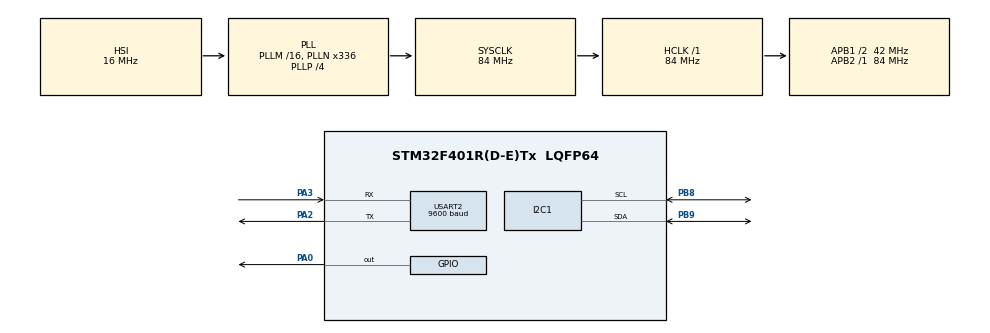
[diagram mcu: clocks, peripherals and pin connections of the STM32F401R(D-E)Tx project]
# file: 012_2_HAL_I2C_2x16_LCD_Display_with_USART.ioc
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Mcu.Family=STM32F4
Mcu.Name=STM32F401R(D-E)Tx
Mcu.Package=LQFP64
NVIC.PriorityGroup=NVIC_PRIORITYGROUP_0
PA0-WKUP.GPIO_Speed=GPIO_SPEED_FREQ_VERY_HIGH
PA0-WKUP.Signal=GPIO_Output
PA2.Mode=Asynchronous
PA2.Signal=USART2_TX
PA3.Mode=Asynchronous
PA3.Signal=USART2_RX
PB8.Mode=I2C
PB8.Signal=I2C1_SCL
PB9.Mode=I2C
PB9.Signal=I2C1_SDA
ProjectManager.HeapSize=0x200
ProjectManager.StackSize=0x400
ProjectManager.TargetToolchain=STM32CubeIDE
RCC.48MHZClocksFreq_Value=48000000
RCC.AHBFreq_Value=84000000
RCC.APB1CLKDivider=RCC_HCLK_DIV2
RCC.APB1Freq_Value=42000000
RCC.APB1TimFreq_Value=84000000
RCC.APB2Freq_Value=84000000
RCC.APB2TimFreq_Value=84000000
RCC.CortexFreq_Value=84000000
RCC.HCLKFreq_Value=84000000
RCC.HSE_VALUE=8000000
RCC.HSI_VALUE=16000000
RCC.LSE_VALUE=32768
RCC.PLLN=336
RCC.PLLP=RCC_PLLP_DIV4
RCC.PLLQ=7
RCC.SYSCLKFreq_VALUE=84000000
RCC.SYSCLKSource=RCC_SYSCLKSOURCE_PLLCLK
RCC.VCOOutputFreq_Value=336000000
USART2.BaudRate=9600
USART2.VirtualMode=VM_ASYNC
board=NUCLEO-F401RE

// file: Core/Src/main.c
/* USER CODE BEGIN Header */
/**
  ******************************************************************************
  * @file           : main.c
  * @brief          : Main program body
  ******************************************************************************
  * @attention
  *
  * Copyright (c) 2023 STMicroelectronics.
  * All rights reserved.
  *
  * This software is licensed under terms that can be found in the LICENSE file
  * in the root directory of this software component.
  * If no LICENSE file comes with this software, it is provided AS-IS.
  *
  ******************************************************************************
  */
/* USER CODE END Header */
#include "main.h"

/* USER CODE BEGIN Includes */
#include "stdio.h"
#include "i2c-lcd.h"
/* USER CODE END Includes */

I2C_HandleTypeDef hi2c1;

UART_HandleTypeDef huart2;

/* USER CODE BEGIN PV */
uint8_t address=0;
int myHex = 0x80;
int buffersize=0;
char rx_buffer[50];
char tx_buffer[50];
/* USER CODE END PV */

void SystemClock_Config(void);
static void MX_GPIO_Init(void);
static void MX_I2C1_Init(void);
static void MX_USART2_UART_Init(void);

/* USER CODE BEGIN 0 */
void findSlaveDeviceAddress()
{
   for(address=0;address<=255;address++)
   {
	   if(HAL_I2C_IsDeviceReady(&hi2c1,address,1,100) == HAL_OK)
	   {
		   HAL_GPIO_TogglePin(GPIOA, GPIO_PIN_0);
		   break;

	   }
   }

}

/* USER CODE END 0 */

int main(void)
{

  /* MCU Configuration--------------------------------------------------------*/

  /* Reset of all peripherals, Initializes the Flash interface and the Systick. */
	HAL_Init();

  /* Configure the system clock */
  SystemClock_Config();

  /* Initialize all configured peripherals */
  MX_GPIO_Init();
  MX_I2C1_Init();
  MX_USART2_UART_Init();
  /* USER CODE BEGIN 2 */
lcd_init();
lcd_send_cmd(0x01);
  /* USER CODE END 2 */

  /* Infinite loop */
  while (1)
  {

    /* USER CODE BEGIN 3 */
	  HAL_UART_Receive(&huart2, (uint8_t *)rx_buffer,50,100);
      for(int i =0 ; i<16;i++)
      {
    	  if(rx_buffer[i] != '\0')
    	  {

    		 if(rx_buffer[i] == '\n')
    		 {
    			 myHex++;
    		 }
    		 else
    		 {
    			  lcd_send_cmd(myHex);
    		      lcd_send_data(rx_buffer[i]);
    		      myHex++;
    	 }

    	  }
    	  else
    	  {
    		  myHex=0x80;
    		  break;
    	  }

      }

	  /*lcd_send_cmd(0x80);
	  lcd_send_string(rx_buffer);
	  lcd_send_cmd(0xC9);
	  lcd_send_string(tx_buffer);*/

  }
  /* USER CODE END 3 */
}

void SystemClock_Config(void)
{
  RCC_OscInitTypeDef RCC_OscInitStruct = {0};
  RCC_ClkInitTypeDef RCC_ClkInitStruct = {0};

  /** Configure the main internal regulator output voltage
  */
  __HAL_RCC_PWR_CLK_ENABLE();
  __HAL_PWR_VOLTAGESCALING_CONFIG(PWR_REGULATOR_VOLTAGE_SCALE2);

  /** Initializes the RCC Oscillators according to the specified parameters
  * in the RCC_OscInitTypeDef structure.
  */
  RCC_OscInitStruct.OscillatorType = RCC_OSCILLATORTYPE_HSI;
  RCC_OscInitStruct.HSIState = RCC_HSI_ON;
  RCC_OscInitStruct.HSICalibrationValue = RCC_HSICALIBRATION_DEFAULT;
  RCC_OscInitStruct.PLL.PLLState = RCC_PLL_ON;
  RCC_OscInitStruct.PLL.PLLSource = RCC_PLLSOURCE_HSI;
  RCC_OscInitStruct.PLL.PLLM = 16;
  RCC_OscInitStruct.PLL.PLLN = 336;
  RCC_OscInitStruct.PLL.PLLP = RCC_PLLP_DIV4;
  RCC_OscInitStruct.PLL.PLLQ = 7;
  if (HAL_RCC_OscConfig(&RCC_OscInitStruct) != HAL_OK)
  {
    Error_Handler();
  }

  /** Initializes the CPU, AHB and APB buses clocks
  */
  RCC_ClkInitStruct.ClockType = RCC_CLOCKTYPE_HCLK|RCC_CLOCKTYPE_SYSCLK
                              |RCC_CLOCKTYPE_PCLK1|RCC_CLOCKTYPE_PCLK2;
  RCC_ClkInitStruct.SYSCLKSource = RCC_SYSCLKSOURCE_PLLCLK;
  RCC_ClkInitStruct.AHBCLKDivider = RCC_SYSCLK_DIV1;
  RCC_ClkInitStruct.APB1CLKDivider = RCC_HCLK_DIV2;
  RCC_ClkInitStruct.APB2CLKDivider = RCC_HCLK_DIV1;

  if (HAL_RCC_ClockConfig(&RCC_ClkInitStruct, FLASH_LATENCY_2) != HAL_OK)
  {
    Error_Handler();
  }
}

static void MX_I2C1_Init(void)
{

  hi2c1.Instance = I2C1;
  hi2c1.Init.ClockSpeed = 100000;
  hi2c1.Init.DutyCycle = I2C_DUTYCYCLE_2;
  hi2c1.Init.OwnAddress1 = 0;
  hi2c1.Init.AddressingMode = I2C_ADDRESSINGMODE_7BIT;
  hi2c1.Init.DualAddressMode = I2C_DUALADDRESS_DISABLE;
  hi2c1.Init.OwnAddress2 = 0;
  hi2c1.Init.GeneralCallMode = I2C_GENERALCALL_DISABLE;
  hi2c1.Init.NoStretchMode = I2C_NOSTRETCH_DISABLE;
  if (HAL_I2C_Init(&hi2c1) != HAL_OK)
  {
    Error_Handler();
  }

}

static void MX_USART2_UART_Init(void)
{

  huart2.Instance = USART2;
  huart2.Init.BaudRate = 9600;
  huart2.Init.WordLength = UART_WORDLENGTH_8B;
  huart2.Init.StopBits = UART_STOPBITS_1;
  huart2.Init.Parity = UART_PARITY_NONE;
  huart2.Init.Mode = UART_MODE_TX_RX;
  huart2.Init.HwFlowCtl = UART_HWCONTROL_NONE;
  huart2.Init.OverSampling = UART_OVERSAMPLING_16;
  if (HAL_UART_Init(&huart2) != HAL_OK)
  {
    Error_Handler();
  }

}

static void MX_GPIO_Init(void)
{
  GPIO_InitTypeDef GPIO_InitStruct = {0};

  /* GPIO Ports Clock Enable */
  __HAL_RCC_GPIOA_CLK_ENABLE();
  __HAL_RCC_GPIOB_CLK_ENABLE();

  /*Configure GPIO pin Output Level */
  HAL_GPIO_WritePin(GPIOA, GPIO_PIN_0, GPIO_PIN_RESET);

  /*Configure GPIO pin : PA0 */
  GPIO_InitStruct.Pin = GPIO_PIN_0;
  GPIO_InitStruct.Mode = GPIO_MODE_OUTPUT_PP;
  GPIO_InitStruct.Pull = GPIO_NOPULL;
  GPIO_InitStruct.Speed = GPIO_SPEED_FREQ_VERY_HIGH;
  HAL_GPIO_Init(GPIOA, &GPIO_InitStruct);

}

void Error_Handler(void)
{
  __disable_irq();
  while (1)
  {
  }
}
